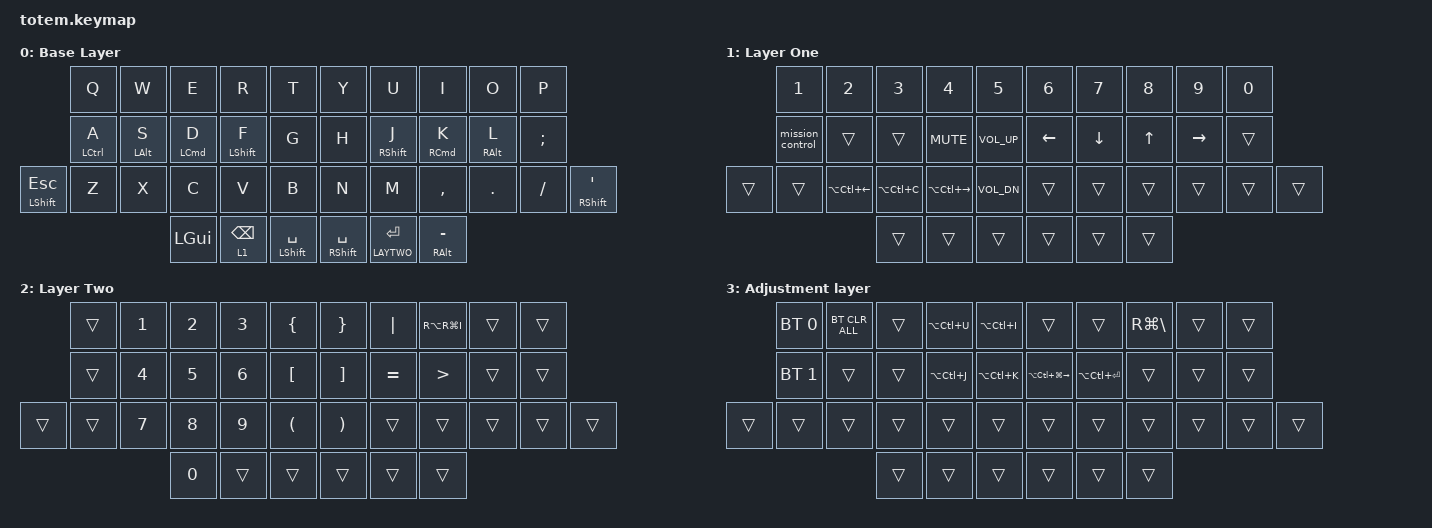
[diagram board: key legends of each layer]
// ▄▄▄▄▄▄▄▄▄▄▄▄▄▄▄▄▄▄▄▄▄▄▄▄▄▄▄▄▄▄▄▄▄▄▄▄▄▄▄▄▄▄▄▄▄▄▄▄▄▄▄▄▄▄▄▄▄▄▄▄▄▄ //
//
//                ▀▀▀▀▀     ▀▀▀▀▀          ▀▀█▀▀                  //
//                ▄▀▀▀▄  ▄  ▄▀▀▀▄  ▄  ▄▀▀▀▄  █  ▄▀▀▀▄             //
//                █   █  █  █   █  █  █   █  █  █   █             //
//                 ▀▀▀   █   ▀▀▀   █   ▀▀▀   ▀   ▀▀▀              //
//                       █      ▄▄▄█▄▄▄    █   █                  //
//                       ▀      █  █  █     █▄█                   //
//                     ▀▀▀▀▀    █  █  █      ▀                    //
//                              ▀  ▀  ▀                           //
//
// ▄▄▄▄▄▄▄▄▄▄▄▄▄▄▄▄▄▄▄▄▄▄▄▄▄▄▄▄▄▄▄▄▄▄▄▄▄▄▄▄▄▄▄▄▄▄▄▄▄▄▄▄▄▄▄▄▄▄▄▄▄▄ //

#include <behaviors.dtsi>
#include <dt-bindings/zmk/bt.h>
#include <dt-bindings/zmk/keys.h>

#define BASE 0
#define LAYONE  1
#define LAYTWO  2
#define ADJ  3

&mt {
    quick-tap-ms = <100>;
    flavor = "tap-preferred";
    tapping-term-ms = <170>;
};

&lt {
    tapping-term-ms = <240>;
    flavor = "balanced";
    quick-tap-ms = <150>;
};

/ {
    combos {
        compatible = "zmk,combos";

        combo_esc {
            timeout-ms = <50>;
            key-positions = <0 1>;
            bindings = <&kp GRAVE>;
            layers = <0>;
        };

        combo_play {
            bindings = <&td_play_next>;
            key-positions = <4 3>;
            layers = <0>;
        };

        combo_exclamation {
            bindings = <&kp EXCLAMATION>;
            key-positions = <1 11>;
            layers = <0>;
            timeout-ms = <70>;
            require-prior-idle-ms = <100>;
        };

        combo_at {
            bindings = <&kp AT>;
            key-positions = <2 12>;
            layers = <0>;
            timeout-ms = <60>;
            require-prior-idle-ms = <120>;
        };

        combo_hash {
            bindings = <&kp HASH>;
            key-positions = <3 13>;
            layers = <0>;
            timeout-ms = <70>;
            require-prior-idle-ms = <100>;
        };

        combo_ampberstand {
            bindings = <&kp AMPS>;
            key-positions = <4 14>;
            layers = <0>;
            timeout-ms = <70>;
            require-prior-idle-ms = <100>;
        };

        combo_cmd_tab {
            bindings = <&kp TAB>;
            key-positions = <12 13>;
            layers = <0>;
        };

        combo_arrow {
            bindings = <&macro_arrow>;
            key-positions = <12 13>;
            layers = <1>;
        };

        ENTER_HOME_LEFT {
            bindings = <&kp ENTER>;
            key-positions = <13 12 11>;
        };

        ENTER_HOME_RIGHT {
            bindings = <&kp ENTER>;
            key-positions = <16 17 18>;
        };

        combo_copy {
            bindings = <&macro_copy>;
            key-positions = <22 23>;
        };

        combo_paste {
            bindings = <&macro_paste>;
            key-positions = <23 24>;
        };
    };

    behaviors {
        // https://www.reddit.com/r/zmk/comments/12ujlmb/combing_modmorph_and_layer_tap/

        mt_left: mt_left {
            compatible = "zmk,behavior-hold-tap";
            label = "MT_LEFT";
            bindings = <&kp>, <&kp>;

            #binding-cells = <2>;
            tapping-term-ms = <400>;
            quick-tap-ms = <170>;
            require-prior-idle-ms = <50>;
            flavor = "balanced";
            hold-trigger-key-positions = <32 33 34 35 36 37 5 6 7 8 9 15 16 17 18 19 26 27 28 29 30 31 35 36 37>;
            hold-trigger-on-release;
        };

        mt_right: mt_right {
            compatible = "zmk,behavior-hold-tap";
            label = "MT_RIGHT";
            bindings = <&kp>, <&kp>;

            #binding-cells = <2>;
            tapping-term-ms = <400>;
            quick-tap-ms = <170>;
            require-prior-idle-ms = <50>;
            flavor = "balanced";
            hold-trigger-on-release;
            hold-trigger-key-positions = <0 1 2 3 4 10 11 12 13 14 20 21 22 23 24 25 32 33 34 35 36 37>;
        };

        mt_shift_left: mt_shift_left {
            compatible = "zmk,behavior-hold-tap";
            label = "MT_SHIFT_LEFT";
            bindings = <&kp>, <&kp>;

            #binding-cells = <2>;
            tapping-term-ms = <175>;
            quick-tap-ms = <175>;
            require-prior-idle-ms = <20>;
            flavor = "tap-preferred";
            hold-trigger-key-positions = <32 33 34 35 36 37 5 6 7 8 9 15 16 17 18 19 26 27 28 29 30 31 35 36 37>;
        };

        mt_shift_right: mt_shift_right {
            compatible = "zmk,behavior-hold-tap";
            label = "MT_SHIFT_RIGHT";
            bindings = <&kp>, <&kp>;

            #binding-cells = <2>;
            tapping-term-ms = <175>;
            quick-tap-ms = <175>;
            require-prior-idle-ms = <20>;
            flavor = "tap-preferred";
            hold-trigger-key-positions = <0 1 2 3 4 10 11 12 13 14 20 21 22 23 24 25 32 33 34 35 36 37>;
        };

        mt_all: mt_all {
            compatible = "zmk,behavior-hold-tap";
            label = "MT_ALL";
            bindings = <&kp>, <&kp>;

            #binding-cells = <2>;
            tapping-term-ms = <175>;
            quick-tap-ms = <175>;
            require-prior-idle-ms = <35>;
            flavor = "balanced";
            hold-trigger-on-release;
        };

        td_play_next: td_play_next {
            compatible = "zmk,behavior-tap-dance";
            label = "td_play_next";
            #binding-cells = <0>;
            bindings = <&kp C_PLAY_PAUSE>, <&kp C_NEXT>;
        };

        td_macro_arrow: td_macro_arrow {
            compatible = "zmk,behavior-tap-dance";
            label = "TD_MACRO_ARROW";
            #binding-cells = <0>;
            bindings = <&kp EQUAL>, <&macro_arrow>;
        };

        td_curly_function: td_curly_function {
            compatible = "zmk,behavior-tap-dance";
            label = "TD_CURLY_FUNCTION";
            #binding-cells = <0>;
            bindings = <&kp LEFT_BRACE>, <&macro_dollar_curly>;
        };
    };

    macros {
        macro_arrow: macro_arrow {
            compatible = "zmk,behavior-macro";
            #binding-cells = <0>;
            bindings = <&kp EQUAL &kp GT>;
            label = "MACRO_ARROW";
        };

        macro_dollar_curly: macro_dollar_curly {
            compatible = "zmk,behavior-macro";
            #binding-cells = <0>;
            bindings = <&kp DOLLAR &kp LEFT_BRACE>;
            label = "MACRO_DOLLAR_CURLY";
        };

        macro_copy: macro_copy {
            compatible = "zmk,behavior-macro";
            #binding-cells = <0>;
            bindings = <&kp LG(C)>;
            label = "MACRO_COPY";
        };

        macro_paste: macro_paste {
            compatible = "zmk,behavior-macro";
            #binding-cells = <0>;
            bindings = <&kp LG(V)>;
            label = "MACRO_PASTE";
        };

        mission_control: mission_control {
            compatible = "zmk,behavior-macro";
            #binding-cells = <0>;
            bindings = <&kp RC(UP_ARROW)>;
            label = "MISSION_CONTROL";
        };
    };

    keymap {
        compatible = "zmk,keymap";

        base_layer {
            label = "Base Layer";
            bindings = <
                       &kp Q             &kp W                      &kp E                    &kp R                        &kp T                   &kp Y                  &kp U                          &kp I                      &kp O                        &kp P
                       &mt_left LCTRL A  &mt_shift_left LEFT_ALT S  &mt_left LEFT_COMMAND D  &mt_shift_left LEFT_SHIFT F  &kp G                   &kp H                  &mt_shift_right RIGHT_SHIFT J  &mt_right RIGHT_COMMAND K  &mt_shift_right RIGHT_ALT L  &kp SEMICOLON
&mt LEFT_SHIFT ESCAPE  &kp Z             &kp X                      &kp C                    &kp V                        &kp B                   &kp N                  &kp M                          &kp COMMA                  &kp DOT                      &kp SLASH      &mt RIGHT_SHIFT SQT
                                                                    &kp LGUI                 &lt 1 BACKSPACE              &mt LEFT_SHIFT SPACE    &mt RIGHT_SHIFT SPACE  &lt LAYTWO ENTER               &mt RIGHT_ALT MINUS
            >;
        };

        LAYONE {
            label = "Layer One";
            bindings = <
        &kp NUMBER_1      &kp NUMBER_2      &kp NUMBER_3   &kp NUMBER_4       &kp NUMBER_5       &kp NUMBER_6  &kp NUMBER_7  &kp NUMBER_8  &kp NUMBER_9  &kp NUMBER_0
        &mission_control  &trans            &trans         &kp K_MUTE         &kp C_VOLUME_UP    &kp LEFT      &kp DOWN      &kp UP        &kp RIGHT     &trans
&trans  &trans            &kp LA(LC(LEFT))  &kp LA(LC(C))  &kp LA(LC(RIGHT))  &kp C_VOL_DN       &trans        &trans        &trans        &trans        &trans        &trans
                                            &trans         &trans             &trans             &trans        &trans        &trans
            >;
        };

        LAYTWO {
            label = "Layer Two";
            bindings = <
        &trans  &kp NUMBER_1  &kp NUMBER_2  &kp NUMBER_3  &kp LEFT_BRACE          &kp RIGHT_BRACE        &kp PIPE   &kp RA(RG(I))     &trans  &trans
        &trans  &kp NUMBER_4  &kp N5        &kp NUMBER_6  &kp LEFT_BRACKET        &kp RIGHT_BRACKET      &kp EQUAL  &kp GREATER_THAN  &trans  &trans
&trans  &trans  &kp N7        &kp N8        &kp N9        &kp LEFT_PARENTHESIS    &kp RIGHT_PARENTHESIS  &trans     &trans            &trans  &trans  &trans
                              &kp N0        &trans        &trans                  &trans                 &trans     &trans
            >;
        };

        ADJUST {
            label = "Adjustment layer";
            bindings = <
        &bt BT_SEL 0  &bt BT_CLR_ALL  &trans  &kp LA(LC(U))  &kp LA(LC(I))    &trans                 &trans             &kp RG(BACKSLASH)  &trans  &trans
        &bt BT_SEL 1  &trans          &trans  &kp LA(LC(J))  &kp LA(LC(K))    &kp LA(LC(LG(RIGHT)))  &kp LA(LC(ENTER))  &trans             &trans  &trans
&trans  &trans        &trans          &trans  &trans         &trans           &trans                 &trans             &trans             &trans  &trans  &trans
                                      &trans  &trans         &trans           &trans                 &trans             &trans
            >;
        };
    };

    conditional_layers {
        compatible = "zmk,conditional-layers";

        ADJUST_LAYER {
            if-layers = <1 2>;
            then-layer = <3>;
        };
    };
};
